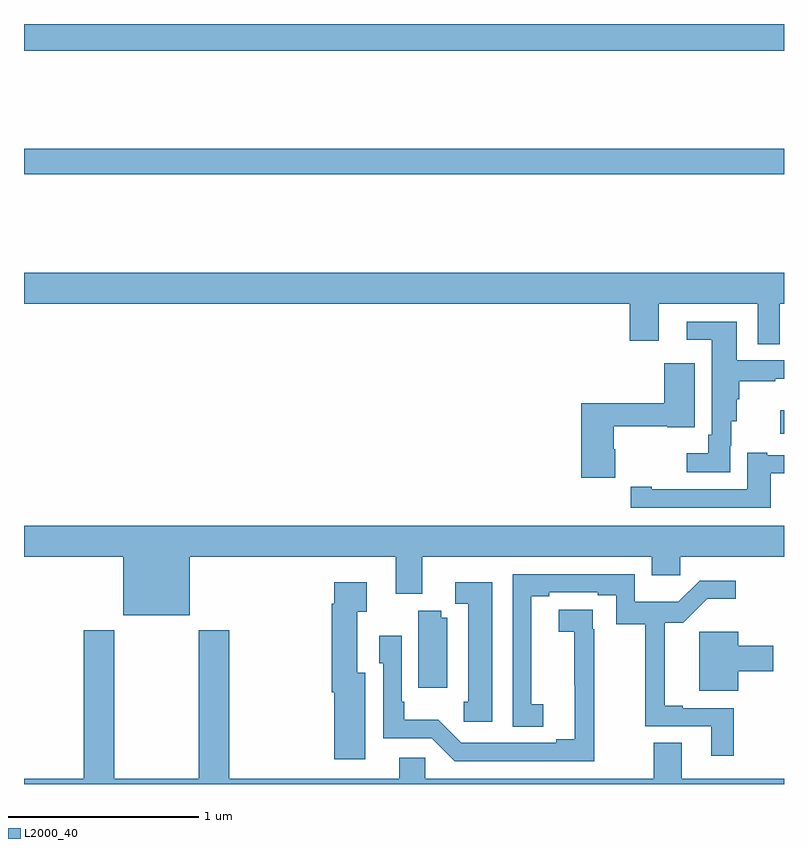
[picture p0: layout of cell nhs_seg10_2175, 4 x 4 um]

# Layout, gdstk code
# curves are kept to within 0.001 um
import gdstk
lib = gdstk.Library(unit=1e-6, precision=1e-09)
def R(c, l, rs):  # rectangles x0, y0, x1, y1
    for r in rs: c.add(gdstk.rectangle(r[:2], r[2:], *l))
def P(c, l, *ps):  # polygons
    for p in ps: c.add(gdstk.Polygon(p, *l))
L2000_40 = (2000, 40)

nhs_seg10_2175 = lib.new_cell('nhs_seg10_2175')
R(nhs_seg10_2175, L2000_40, [(230.979,1254.344,231,1254.466), (227,1255.708,231,1255.844), (227,1256.36,231,1256.5)])
P(nhs_seg10_2175, L2000_40, [(230.977,1255.028),(231,1255.028),(231,1255.192),(227,1255.192),(227,1255.028),(230.189,1255.028),(230.189,1254.834),(230.341,1254.834),(230.341,1255.028),(230.861,1255.028),(230.861,1254.814),(230.977,1254.814)],
  [(230.718,1254.279),(230.723,1254.279),(230.723,1254.41),(230.752,1254.41),(230.752,1254.525),(230.765,1254.525),(230.765,1254.621),(230.954,1254.621),(230.954,1254.632),(231,1254.632),(231,1254.729),(230.752,1254.729),(230.752,1254.933),(230.487,1254.933),(230.487,1254.837),(230.621,1254.837),(230.621,1254.337),(230.602,1254.337),(230.602,1254.241),(230.487,1254.241),(230.487,1254.14),(230.718,1254.14)],
  [(230.112,1254.261),(230.104,1254.261),(230.104,1254.384),(230.385,1254.384),(230.385,1254.377),(230.53,1254.377),(230.53,1254.715),(230.369,1254.715),(230.369,1254.505),(229.934,1254.505),(229.934,1254.111),(230.112,1254.111)],
  [(230.929,1254.135),(231,1254.135),(231,1254.231),(230.911,1254.231),(230.911,1254.244),(230.807,1254.244),(230.807,1254.051),(230.305,1254.051),(230.305,1254.064),(230.193,1254.064),(230.193,1253.955),(230.929,1253.955)],
  [(227.872,1253.696),(228.956,1253.696),(228.956,1253.502),(229.096,1253.502),(229.096,1253.696),(230.303,1253.696),(230.303,1253.598),(230.455,1253.598),(230.455,1253.696),(231,1253.696),(231,1253.86),(227,1253.86),(227,1253.696),(227.522,1253.696),(227.522,1253.387),(227.872,1253.387)],
  [(230.735,1252.899),(230.467,1252.899),(230.467,1252.912),(230.372,1252.912),(230.372,1253.349),(230.471,1253.349),(230.597,1253.474),(230.746,1253.474),(230.746,1253.571),(230.556,1253.571),(230.443,1253.458),(230.214,1253.458),(230.214,1253.604),(229.572,1253.604),(229.572,1252.801),(229.732,1252.801),(229.732,1252.921),(229.671,1252.921),(229.671,1253.225),(229.669,1253.225),(229.669,1253.488),(229.765,1253.488),(229.765,1253.508),(230.021,1253.508),(230.021,1253.494),(230.118,1253.494),(230.118,1253.341),(230.269,1253.341),(230.269,1252.803),(230.618,1252.803),(230.618,1252.65),(230.735,1252.65)],
  [(229.465,1253.563),(229.269,1253.563),(229.269,1253.448),(229.337,1253.448),(229.337,1252.932),(229.315,1252.932),(229.315,1252.827),(229.465,1252.827)],
  [(228.796,1253.086),(228.754,1253.086),(228.754,1253.407),(228.805,1253.407),(228.805,1253.563),(228.632,1253.563),(228.632,1253.45),(228.62,1253.45),(228.62,1252.982),(228.632,1252.982),(228.632,1252.629),(228.796,1252.629)],
  [(230,1253.315),(229.994,1253.315),(229.994,1253.417),(229.815,1253.417),(229.815,1253.302),(229.897,1253.302),(229.898,1252.736),(229.802,1252.736),(229.802,1252.716),(229.302,1252.716),(229.181,1252.837),(229,1252.837),(229,1252.933),(228.987,1252.933),(228.987,1253.281),(228.87,1253.281),(228.87,1253.136),(228.891,1253.136),(228.891,1252.74),(229.146,1252.74),(229.266,1252.62),(230,1252.62)],
  [(229.228,1253.374),(229.196,1253.374),(229.196,1253.411),(229.076,1253.411),(229.076,1253.007),(229.228,1253.007)],
  [(228.974,1252.638),(228.974,1252.528),(228.08,1252.528),(228.08,1253.308),(227.92,1253.308),(227.92,1252.528),(227.475,1252.528),(227.475,1253.308),(227.315,1253.308),(227.315,1252.528),(227,1252.528),(227,1252.5),(231,1252.5),(231,1252.528),(230.461,1252.528),(230.461,1252.718),(230.314,1252.718),(230.314,1252.528),(229.113,1252.528),(229.113,1252.638)],
  [(230.758,1253.093),(230.944,1253.093),(230.944,1253.227),(230.758,1253.227),(230.758,1253.301),(230.555,1253.301),(230.555,1252.991),(230.758,1252.991)])

lib.write_gds('nhs_seg10_2175.gds')
